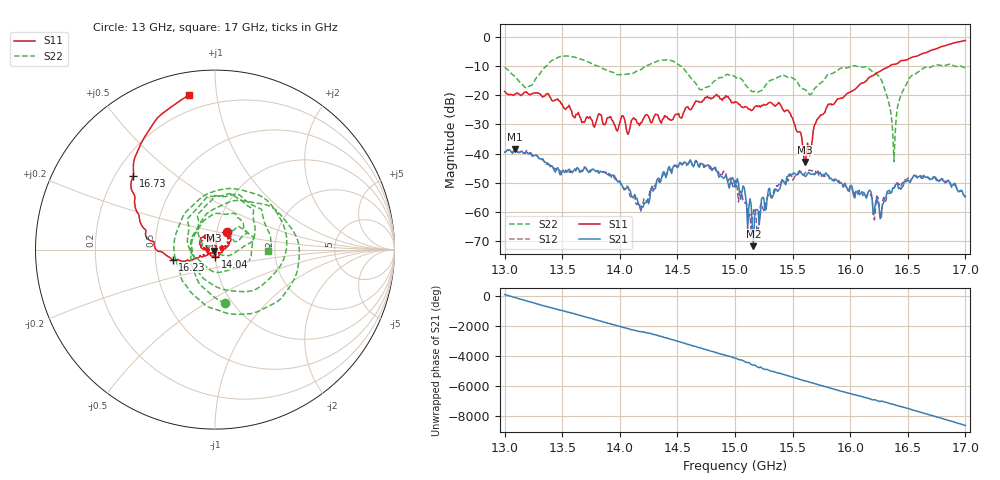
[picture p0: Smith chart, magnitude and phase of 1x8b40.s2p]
!Keysight Technologies,P9374A,MY57211807,A.19.30.04
!Date: Friday, May 08, 2026 14:28:14
!Correction: S11(C  2-Port  )
!S21(C  2-Port  )
!S12(C  2-Port  )
!S22(C  2-Port  )
!S2P File: Measurements: S11, S21, S12, S22:
# Hz S  dB  R 50
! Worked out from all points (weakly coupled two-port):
!   401 points, 13 GHz to 17 GHz, reference 50 ohm
!   highest |S21| = -38.38 dB at 13.09 GHz (marker M1); lowest = -71.7 dB at 15.16 GHz (marker M2)
!   lowest |S11| = -42.9 dB at 15.61 GHz (marker M3), VSWR 1.01, Z = 49.5 - j0.531 ohm
!   |S11| at or under -10 dB: start of sweep to 16.34 GHz
!   |S22| runs from -42.8 to -6.5 dB; largest |S21 - S12| = 0.0018
!   S11 on the Smith chart (normalised r, x): 13 GHz: 1.11, +0.22; 14.04 GHz: 1.00, -0.08; 16.23 GHz: 0.61, -0.07; 16.73 GHz: 0.27, +0.36; 17 GHz: 0.12, +0.84
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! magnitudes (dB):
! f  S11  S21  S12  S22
! 13 GHz  -18.7  -39.5  -39.6  -10.4
! 13.09 GHz  -19.6  -38.4  -38.6  -13.5
! 13.2 GHz  -19.4  -39.8  -39.3  -17.2
! 13.44 GHz  -21.6  -46.3  -45.3  -7.5
! 13.67 GHz  -29.3  -46.1  -45.9  -7.7
! 14.04 GHz  -28.1  -52.1  -52.5  -12.8
! 14.19 GHz  -29.4  -58.0  -58.7  -11.0
! 14.34 GHz  -27.9  -48.4  -49.6  -8.0
! 14.66 GHz  -22.0  -42.5  -42.3  -16.0
! 15 GHz  -22.2  -51.6  -49.2  -13.6
! 15.16 GHz  -24.6  -71.7  -59.5  -18.7
! 15.46 GHz  -25.1  -47.8  -49.4  -13.8
! 15.61 GHz  -42.9  -47.8  -46.6  -18.1
! 15.67 GHz  -35.6  -47.0  -45.8  -19.1
! 15.81 GHz  -23.0  -47.4  -47.4  -12.8
! 16.23 GHz  -12.3  -55.1  -54.5  -12.8
! 16.34 GHz  -10.0  -52.6  -53.6  -23.3
! 16.38 GHz  -9.3  -51.8  -51.9  -42.8
! 16.43 GHz  -8.4  -51.6  -50.5  -21.1
! 16.51 GHz  -7.4  -49.3  -48.7  -14.4
! 16.73 GHz  -4.2  -48.0  -48.1  -9.8
! 17 GHz  -1.2  -54.7  -55.1  -10.6
